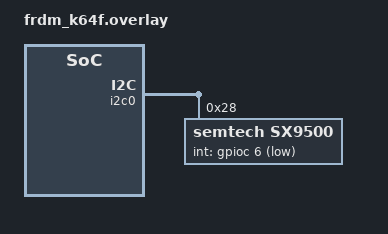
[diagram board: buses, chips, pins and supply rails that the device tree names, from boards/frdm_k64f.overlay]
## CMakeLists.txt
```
# SPDX-License-Identifier: Apache-2.0

cmake_minimum_required(VERSION 3.13.1)
find_package(Zephyr REQUIRED HINTS $ENV{ZEPHYR_BASE})
project(sx9500)

FILE(GLOB app_sources src/*.c)
target_sources(app PRIVATE ${app_sources})
```

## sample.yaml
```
sample:
  name: SX9500 Sensor Sample
tests:
  sample.sensor.sx9500:
    harness: sensor
    tags: sensors
    depends_on: i2c gpio
    filter: dt_compat_enabled("semtech,sx9500")
```

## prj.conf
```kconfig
CONFIG_I2C=y
CONFIG_GPIO=y
CONFIG_SENSOR=y
CONFIG_SX9500=y
```

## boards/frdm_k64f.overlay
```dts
/*
 * Copyright (c) 2019, Linaro Ltd.
 *
 * SPDX-License-Identifier: Apache-2.0
 */

&i2c0 {
	sx9500@28 {
		compatible = "semtech,sx9500";
		reg = <0x28>;
		int-gpios = <&gpioc 6 GPIO_ACTIVE_LOW>;
		label = "SX9500";
	};
};
```

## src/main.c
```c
/*
 * Copyright (c) 2016 Intel Corporation
 *
 * SPDX-License-Identifier: Apache-2.0
 */

#include <zephyr.h>
#include <device.h>
#include <drivers/sensor.h>
#include <stdio.h>
#include <sys/printk.h>
#ifdef CONFIG_SX9500_TRIGGER

static void sensor_trigger_handler(const struct device *dev,
				   struct sensor_trigger *trig)
{
	struct sensor_value prox_value;
	int ret;

	ret = sensor_sample_fetch(dev);
	if (ret) {
		printk("sensor_sample_fetch failed ret %d\n", ret);
		return;
	}

	ret = sensor_channel_get(dev, SENSOR_CHAN_PROX, &prox_value);
	printk("prox is %d\n", prox_value.val1);
}

static void setup_trigger(const struct device *dev)
{
	int ret;
	struct sensor_trigger trig = {
		.type = SENSOR_TRIG_NEAR_FAR,
	};

	ret = sensor_trigger_set(dev, &trig, sensor_trigger_handler);
	if (ret) {
		printk("sensor_trigger_set err %d\n", ret);
	}
}

void do_main(const struct device *dev)
{
	setup_trigger(dev);

	while (1) {
		k_sleep(K_MSEC(1000));
	}
}

#else /* CONFIG_SX9500_TRIGGER */

static void do_main(const struct device *dev)
{
	int ret;
	struct sensor_value prox_value;

	while (1) {
		ret = sensor_sample_fetch(dev);
		if (ret) {
			printk("sensor_sample_fetch failed ret %d\n", ret);
			return;
		}

		ret = sensor_channel_get(dev, SENSOR_CHAN_PROX, &prox_value);
		printk("prox is %d\n", prox_value.val1);

		k_sleep(K_MSEC(1000));
	}
}

#endif /* CONFIG_SX9500_TRIGGER */

void main(void)
{
	const struct device *dev;

	dev = device_get_binding("SX9500");

	if (dev == NULL) {
		printk("Could not get SX9500 device\n");
		return;
	}

	printk("device is %p, name is %s\n", dev, dev->name);

	do_main(dev);
}
```
